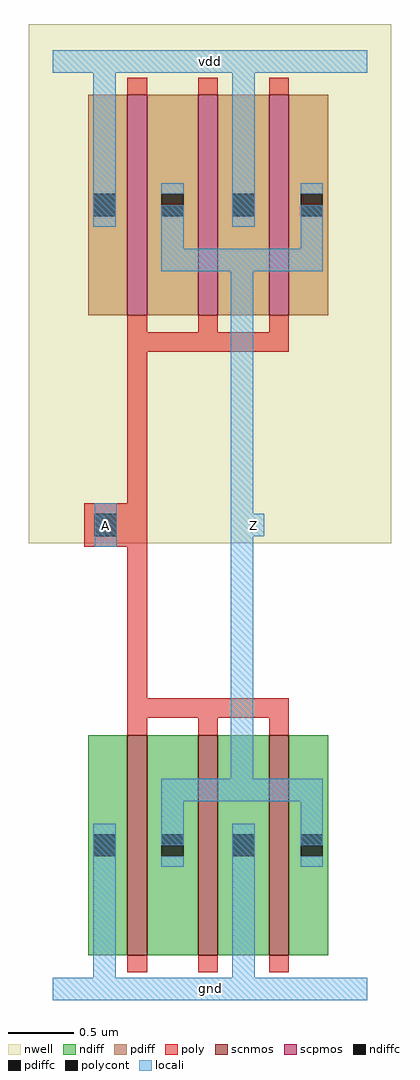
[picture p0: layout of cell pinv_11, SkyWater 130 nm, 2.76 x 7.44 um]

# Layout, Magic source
magic
tech sky130A
magscale 1 2
<< nwell >>
rect -36 679 516 1471
<< poly >>
rect 114 740 144 971
rect 81 674 144 740
rect 114 443 144 674
<< locali >>
rect 0 1397 480 1431
rect 62 1162 96 1397
rect 274 1162 308 1397
rect 64 674 98 740
rect 272 724 306 1128
rect 272 690 323 724
rect 272 286 306 690
rect 62 17 96 186
rect 274 17 308 186
rect 0 -17 480 17
use pmos_m3_w1_680_sli_dli_da_p  pmos_m3_w1_680_sli_dli_da_p_0
transform 1 0 54 0 1 1027
box -59 -56 425 390
use contact_12  contact_12_0
transform 1 0 48 0 1 674
box 0 0 66 66
use nmos_m3_w1_680_sli_dli_da_p  nmos_m3_w1_680_sli_dli_da_p_0
transform 1 0 54 0 1 51
box 0 -26 366 392
<< labels >>
rlabel corelocali s 240 0 240 0 4 gnd
rlabel corelocali s 306 707 306 707 4 Z
rlabel corelocali s 240 1414 240 1414 4 vdd
rlabel corelocali s 81 707 81 707 4 A
<< properties >>
string FIXED_BBOX 0 0 480 1414
<< end >>

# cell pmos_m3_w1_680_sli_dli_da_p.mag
magic
tech sky130A
magscale 1 2
<< nwell >>
rect -54 -54 420 390
<< scpmos >>
rect 60 0 90 336
rect 168 0 198 336
rect 276 0 306 336
<< pdiff >>
rect 0 0 60 336
rect 90 0 168 336
rect 198 0 276 336
rect 306 0 366 336
<< poly >>
rect 60 336 90 362
rect 168 336 198 362
rect 276 336 306 362
rect 60 -26 90 0
rect 168 -26 198 0
rect 276 -26 306 0
rect 60 -56 306 -26
<< locali >>
rect 8 135 42 201
rect 112 101 146 168
rect 220 135 254 201
rect 324 101 358 168
rect 112 67 358 101
use contact_11  contact_11_3
transform 1 0 0 0 1 135
box -59 -51 109 117
use contact_11  contact_11_2
transform 1 0 104 0 1 135
box -59 -51 109 117
use contact_11  contact_11_1
transform 1 0 212 0 1 135
box -59 -51 109 117
use contact_11  contact_11_0
transform 1 0 316 0 1 135
box -59 -51 109 117
<< labels >>
rlabel poly s 183 -41 183 -41 4 G
rlabel corelocali s 237 168 237 168 4 S
rlabel corelocali s 25 168 25 168 4 S
rlabel corelocali s 235 84 235 84 4 D
<< properties >>
string FIXED_BBOX -54 -54 420 390
<< end >>

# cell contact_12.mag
magic
tech sky130A
<< poly >>
rect 0 25 33 33
rect 0 8 8 25
rect 25 8 33 25
rect 0 0 33 8
<< polycont >>
rect 8 8 25 25
<< locali >>
rect 8 25 25 33
rect 8 0 25 8
<< properties >>
string FIXED_BBOX -10 -10 43 43
<< end >>

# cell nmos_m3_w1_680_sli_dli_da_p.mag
magic
tech sky130A
magscale 1 2
<< scnmos >>
rect 60 0 90 336
rect 168 0 198 336
rect 276 0 306 336
<< ndiff >>
rect 0 0 60 336
rect 90 0 168 336
rect 198 0 276 336
rect 306 0 366 336
<< poly >>
rect 60 362 306 392
rect 60 336 90 362
rect 168 336 198 362
rect 276 336 306 362
rect 60 -26 90 0
rect 168 -26 198 0
rect 276 -26 306 0
<< locali >>
rect 112 235 358 269
rect 8 135 42 201
rect 112 168 146 235
rect 220 135 254 201
rect 324 168 358 235
use contact_17  contact_17_3
transform 1 0 0 0 1 135
box 0 0 50 66
use contact_17  contact_17_2
transform 1 0 104 0 1 135
box 0 0 50 66
use contact_17  contact_17_1
transform 1 0 212 0 1 135
box 0 0 50 66
use contact_17  contact_17_0
transform 1 0 316 0 1 135
box 0 0 50 66
<< labels >>
rlabel poly s 183 377 183 377 4 G
rlabel corelocali s 237 168 237 168 4 S
rlabel corelocali s 25 168 25 168 4 S
rlabel corelocali s 235 252 235 252 4 D
<< properties >>
string FIXED_BBOX -25 -26 391 362
<< end >>

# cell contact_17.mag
magic
tech sky130A
<< ndiff >>
rect 0 25 25 31
rect 0 8 4 25
rect 21 8 25 25
rect 0 2 25 8
<< ndiffc >>
rect 4 8 21 25
<< locali >>
rect 4 25 21 33
rect 4 0 21 8
<< properties >>
string FIXED_BBOX -12 -10 37 43
<< end >>

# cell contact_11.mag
magic
tech sky130A
magscale 1 2
<< nwell >>
rect -59 -51 109 117
<< pdiff >>
rect 0 50 50 62
rect 0 16 8 50
rect 42 16 50 50
rect 0 4 50 16
<< pdiffc >>
rect 8 16 42 50
<< locali >>
rect 8 50 42 66
rect 8 0 42 16
<< properties >>
string FIXED_BBOX -59 -51 109 117
<< end >>
